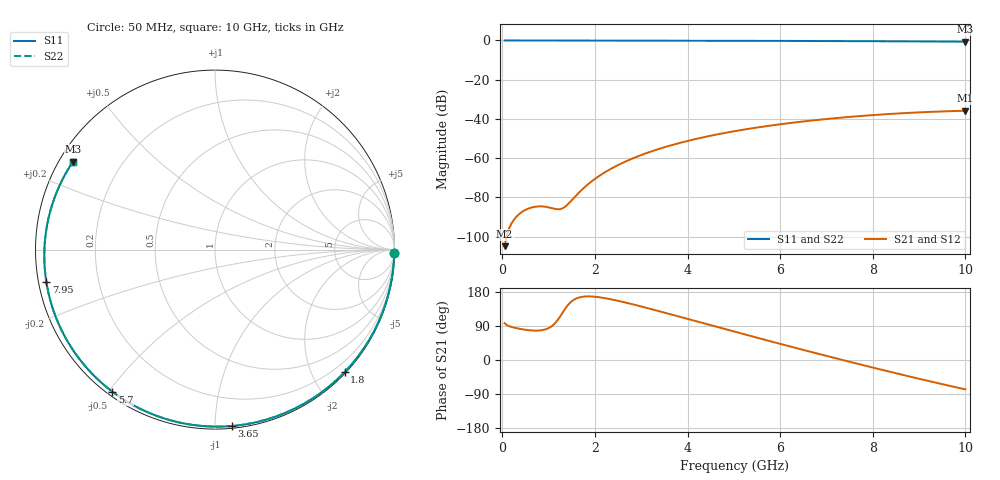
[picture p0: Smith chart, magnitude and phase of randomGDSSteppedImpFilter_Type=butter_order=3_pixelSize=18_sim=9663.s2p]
! freq	dB(S11)	phase(S11)	dB(S12)	phase(S12)
!  dB(S21)	phase(S21)	dB(S22)	phase(S22)
!S-par simulation data
#  GHz  S  DB  R 50
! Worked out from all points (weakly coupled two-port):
!   200 points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, 50 MHz to 10 GHz, reference 50 ohm
!   highest |S21| = -35.84 dB at 10 GHz (marker M1); lowest = -104.9 dB at 50 MHz (marker M2)
!   lowest |S11| = -0.6 dB at 10 GHz (marker M3), VSWR 27.90, Z = 1.94 + j14.2 ohm
!   |S11| at or under -10 dB: nowhere
!   |S22| runs from -0.6 to 0.0 dB; largest |S21 - S12| = 0
!   S11 on the Smith chart (normalised r, x): 50 MHz: 2, -96; 1.8 GHz: 0.02, -2.51; 3.65 GHz: 0.01, -1.10; 5.7 GHz: 0.01, -0.51; 7.95 GHz: 0.02, -0.10; 10 GHz: 0.04, +0.28
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0.05  -0.00 -1.2  -104.88 97.3  -104.88 97.3  -0.00 -1.2
0.45  -0.02 -11.0  -87.04 80.7  -87.04 80.7  -0.02 -11.0
0.8  -0.03 -19.6  -84.59 77.9  -84.59 77.9  -0.03 -19.6
1.55  -0.05 -37.5  -80.19 159.3  -80.19 159.3  -0.05 -37.5
1.75  -0.05 -42.2  -75.42 167.2  -75.42 167.2  -0.05 -42.2
1.8  -0.05 -43.4  -74.36 167.7  -74.36 167.7  -0.05 -43.4
2.1  -0.06 -50.4  -68.95 165.5  -68.95 165.5  -0.06 -50.4
2.45  -0.07 -58.3  -64.13 157.5  -64.13 157.5  -0.07 -58.3
2.9  -0.09 -68.4  -59.34 144.4  -59.34 144.4  -0.09 -68.4
3.4  -0.10 -79.3  -55.18 128.3  -55.18 128.3  -0.10 -79.3
3.65  -0.11 -84.6  -53.42 120.1  -53.42 120.1  -0.11 -84.6
4.35  -0.14 -99.1  -49.32 96.8  -49.32 96.8  -0.14 -99.1
5.05  -0.17 -113.1  -46.11 73.6  -46.11 73.6  -0.17 -113.1
5.7  -0.21 -125.8  -43.70 52.3  -43.70 52.3  -0.21 -125.8
6.7  -0.27 -145.0  -40.77 20.2  -40.77 20.2  -0.27 -145.0
7.35  -0.33 -157.4  -39.28 -0.1  -39.28 -0.1  -0.33 -157.4
7.95  -0.38 -169.0  -38.13 -18.4  -38.13 -18.4  -0.38 -169.0
8.35  -0.42 -176.9  -37.50 -30.5  -37.50 -30.5  -0.42 -176.9
8.8  -0.47 174.0  -36.89 -43.8  -36.89 -43.8  -0.47 174.0
9.2  -0.52 165.7  -36.45 -55.3  -36.45 -55.3  -0.52 165.7
9.6  -0.57 157.1  -36.11 -66.6  -36.11 -66.6  -0.57 157.1
10  -0.62 148.2  -35.84 -77.5  -35.84 -77.5  -0.62 148.2
